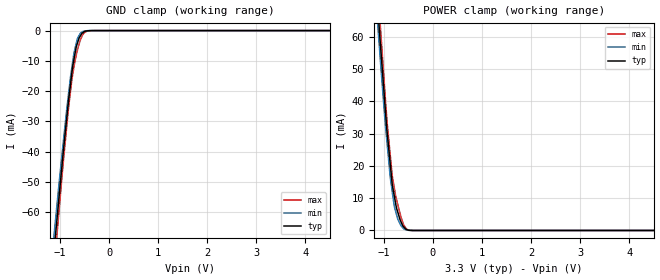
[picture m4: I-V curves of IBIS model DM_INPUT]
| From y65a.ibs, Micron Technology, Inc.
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|   MODEL DM_INPUT
[Model]   DM_INPUT
Model_type   Input
Vinl = 800.000mV
Vinh = 2.000V
|   typ   min   max
C_comp   2.675pF   2.575pF   2.775pF
[Voltage Range]   3.300V   3.000V   3.600V
| Junction Temperature (Case temp is 35C typ, 70C min, 0C max)
[Temperature Range]   50.0   85.0   0.0
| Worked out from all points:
|   GND clamp passes 1 mA (typ) near -0.56 V on its own axis
|   POWER clamp passes 1 mA (typ) near -0.59 V on its own axis
[GND Clamp]
|   Voltage   I(typ)   I(min)   I(max)
-3.3V     -494.6mA   -461.6mA   -532mA
-1.12V    -72.2mA    -66.98mA   -77.91mA
-1.085V   -65.95mA   -61.13mA   -71.36mA
-1.055V   -60.74mA   -56.12mA   -65.74mA
-930mV    -39.26mA   -36.08mA   -42.58mA
-830mV    -23.3mA    -21.2mA    -25.85mA
-745mV    -11.95mA   -10.55mA   -14.67mA
-715mV    -9.271mA   -7.224mA   -11.77mA
-650mV    -4.298mA   -2.78mA    -6.648mA
-540mV    -736.7uA   -320.2uA   -1.396mA
-295mV    -1.021uA   -375.7nA   -5.654uA
6.6V      0A         0A         0A
[POWER Clamp]
|   Voltage   I(typ)   I(min)   I(max)
-3.3V     589.7mA    567.2mA    619.7mA
-1.12V    68.28mA    62.81mA    74.02mA
-1.08V    59.64mA    54.57mA    65.22mA
-1.055V   54.59mA    49.42mA    59.72mA
-970mV    37.41mA    32.97mA    41.02mA
-930mV    29.88mA    26.4mA     32.93mA
-870mV    20.59mA    16.55mA    23.41mA
-830mV    14.39mA    12.11mA    17.08mA
-785mV    10.51mA    7.325mA    13.02mA
-715mV    5.6mA      3.462mA    7.916mA
-550mV    391.4uA    209.5uA    638.1uA
6.6V      0A         0A         0A
